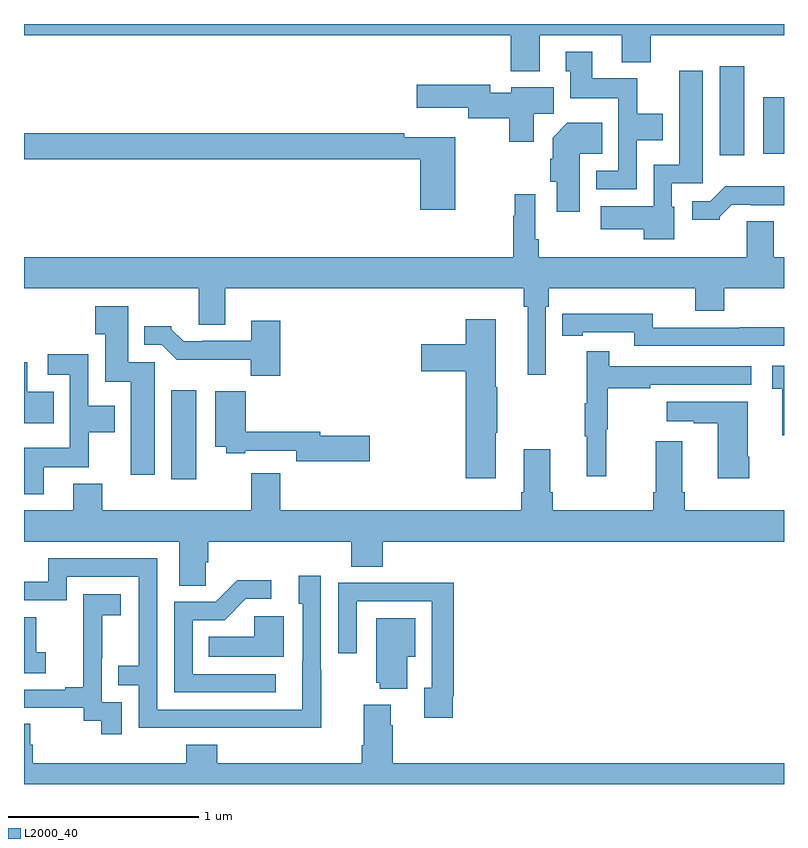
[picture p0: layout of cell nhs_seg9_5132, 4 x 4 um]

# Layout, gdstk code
import gdstk
lib = gdstk.Library(unit=1e-6, precision=1e-09)
def R(c, l, rs):  # rectangles x0, y0, x1, y1
    for r in rs: c.add(gdstk.rectangle(r[:2], r[2:], *l))
def P(c, l, *ps):  # polygons
    for p in ps: c.add(gdstk.Polygon(p, *l))
L2000_40 = (2000, 40)

nhs_seg9_5132 = lib.new_cell('nhs_seg9_5132')
R(nhs_seg9_5132, L2000_40, [(409.775,1174.104,409.906,1174.573), (412.661,1175.808,412.792,1176.277), (412.892,1175.816,413,1176.115)])
P(nhs_seg9_5132, L2000_40, [(411.715,1176.44),(412.145,1176.44),(412.145,1176.299),(412.298,1176.299),(412.298,1176.44),(413,1176.44),(413,1176.5),(409,1176.5),(409,1176.44),(411.563,1176.44),(411.563,1176.251),(411.715,1176.251)],
  [(412.224,1175.888),(412.363,1175.888),(412.363,1176.028),(412.227,1176.028),(412.227,1176.214),(411.991,1176.214),(411.991,1176.355),(411.851,1176.355),(411.851,1176.252),(411.875,1176.252),(411.875,1176.11),(412.128,1176.11),(412.128,1175.727),(412.011,1175.727),(412.011,1175.631),(412.224,1175.631)],
  [(412.423,1175.538),(412.41,1175.538),(412.41,1175.661),(412.573,1175.661),(412.573,1176.253),(412.448,1176.253),(412.448,1175.758),(412.314,1175.758),(412.314,1175.542),(412.035,1175.542),(412.035,1175.42),(412.262,1175.42),(412.262,1175.366),(412.423,1175.366)],
  [(411.682,1176.028),(411.787,1176.028),(411.787,1176.166),(411.564,1176.166),(411.564,1176.139),(411.454,1176.139),(411.454,1176.181),(411.066,1176.181),(411.066,1176.059),(411.338,1176.059),(411.338,1176.005),(411.553,1176.005),(411.553,1175.88),(411.682,1175.88)],
  [(411.925,1175.816),(412.043,1175.816),(412.043,1175.98),(411.86,1175.98),(411.782,1175.902),(411.782,1175.792),(411.77,1175.792),(411.77,1175.67),(411.803,1175.67),(411.803,1175.511),(411.925,1175.511)],
  [(411.269,1175.905),(411.002,1175.905),(411.002,1175.924),(409,1175.924),(409,1175.788),(411.086,1175.788),(411.086,1175.523),(411.269,1175.523)],
  [(412.662,1175.486),(412.726,1175.55),(412.825,1175.55),(412.825,1175.547),(413,1175.547),(413,1175.647),(412.69,1175.647),(412.611,1175.568),(412.518,1175.568),(412.518,1175.471),(412.662,1175.471)],
  [(411.582,1175.605),(411.582,1175.492),(411.574,1175.492),(411.574,1175.272),(409,1175.272),(409,1175.108),(409.919,1175.108),(409.919,1174.918),(410.059,1174.918),(410.059,1175.108),(411.631,1175.108),(411.631,1175.012),(411.65,1175.012),(411.65,1174.653),(411.747,1174.653),(411.747,1175.012),(411.761,1175.012),(411.761,1175.108),(412.532,1175.108),(412.532,1174.991),(412.685,1174.991),(412.685,1175.108),(413,1175.108),(413,1175.272),(412.945,1175.272),(412.945,1175.462),(412.805,1175.462),(412.805,1175.272),(411.71,1175.272),(411.71,1175.368),(411.69,1175.368),(411.69,1175.605)],
  [(409.687,1174.719),(409.549,1174.719),(409.549,1175.014),(409.376,1175.014),(409.376,1174.867),(409.427,1174.867),(409.427,1174.616),(409.562,1174.616),(409.562,1174.128),(409.687,1174.128)],
  [(413,1174.904),(412.768,1174.904),(412.768,1174.902),(412.308,1174.902),(412.308,1174.975),(411.94,1174.975),(411.94,1174.974),(411.832,1174.974),(411.832,1174.858),(411.94,1174.858),(411.94,1174.878),(412.212,1174.878),(412.212,1174.806),(413,1174.806)],
  [(411.484,1174.348),(411.492,1174.348),(411.492,1174.589),(411.484,1174.589),(411.484,1174.945),(411.326,1174.945),(411.326,1174.815),(411.09,1174.815),(411.09,1174.673),(411.326,1174.673),(411.326,1174.11),(411.484,1174.11)],
  [(410.348,1174.939),(410.195,1174.939),(410.195,1174.833),(409.939,1174.833),(409.939,1174.83),(409.84,1174.83),(409.776,1174.894),(409.776,1174.909),(409.634,1174.909),(409.634,1174.812),(409.725,1174.812),(409.804,1174.734),(410.193,1174.734),(410.193,1174.649),(410.348,1174.649)],
  [(412.064,1174.368),(412.072,1174.368),(412.072,1174.582),(412.295,1174.582),(412.295,1174.602),(412.828,1174.602),(412.828,1174.698),(412.079,1174.698),(412.079,1174.777),(411.962,1174.777),(411.962,1174.505),(411.951,1174.505),(411.951,1174.331),(411.962,1174.331),(411.962,1174.119),(412.064,1174.119)],
  [(409.105,1174.166),(409.341,1174.166),(409.341,1174.352),(409.477,1174.352),(409.477,1174.492),(409.338,1174.492),(409.338,1174.762),(409.125,1174.762),(409.125,1174.653),(409.242,1174.653),(409.242,1174.27),(409,1174.27),(409,1174.026),(409.105,1174.026)],
  [(409.157,1174.564),(409.018,1174.564),(409.018,1174.721),(409,1174.721),(409,1174.4),(409.157,1174.4)],
  [(413,1174.702),(412.938,1174.702),(412.938,1174.581),(412.991,1174.581),(412.991,1174.335),(413,1174.335)],
  [(410.821,1174.334),(410.56,1174.334),(410.56,1174.355),(410.168,1174.355),(410.168,1174.567),(410.006,1174.567),(410.006,1174.274),(410.064,1174.274),(410.064,1174.242),(410.164,1174.242),(410.164,1174.254),(410.432,1174.254),(410.432,1174.199),(410.821,1174.199)],
  [(412.818,1174.222),(412.81,1174.222),(412.81,1174.513),(412.383,1174.513),(412.383,1174.409),(412.526,1174.409),(412.526,1174.399),(412.652,1174.399),(412.652,1174.11),(412.818,1174.11)],
  [(410.723,1173.643),(410.888,1173.643),(410.888,1173.776),(413,1173.776),(413,1173.94),(412.478,1173.94),(412.478,1174.036),(412.465,1174.036),(412.465,1174.303),(412.325,1174.303),(412.325,1174.036),(412.313,1174.036),(412.313,1173.94),(411.782,1173.94),(411.782,1174.036),(411.769,1174.036),(411.769,1174.261),(411.629,1174.261),(411.629,1174.036),(411.617,1174.036),(411.617,1173.94),(410.348,1173.94),(410.348,1174.135),(410.195,1174.135),(410.195,1173.94),(409.412,1173.94),(409.412,1174.081),(409.259,1174.081),(409.259,1173.94),(409,1173.94),(409,1173.776),(409.817,1173.776),(409.817,1173.544),(409.956,1173.544),(409.956,1173.667),(409.97,1173.667),(409.97,1173.776),(410.723,1173.776)],
  [(410.565,1173.101),(410.562,1173.101),(410.562,1173.595),(410.447,1173.595),(410.447,1173.45),(410.466,1173.45),(410.466,1173.146),(410.465,1173.146),(410.465,1172.892),(409.701,1172.892),(409.701,1173.687),(409.127,1173.687),(409.127,1173.564),(409,1173.564),(409,1173.468),(409.224,1173.468),(409.224,1173.591),(409.605,1173.591),(409.605,1173.122),(409.495,1173.122),(409.495,1173.021),(409.605,1173.021),(409.605,1172.796),(410.101,1172.796),(410.101,1172.795),(410.565,1172.795)],
  [(410.326,1173.078),(409.887,1173.078),(409.887,1173.363),(410.056,1173.363),(410.167,1173.474),(410.302,1173.474),(410.302,1173.572),(410.123,1173.572),(410.01,1173.459),(409.791,1173.459),(409.791,1172.982),(410.326,1172.982)],
  [(411.256,1172.962),(411.263,1172.962),(411.263,1173.56),(410.971,1173.56),(410.971,1173.558),(410.655,1173.558),(410.655,1173.189),(410.751,1173.189),(410.751,1173.462),(411.147,1173.462),(411.147,1173.006),(411.107,1173.006),(411.107,1172.85),(411.256,1172.85)],
  [(409.515,1172.931),(409.41,1172.931),(409.41,1173.161),(409.412,1173.161),(409.412,1173.389),(409.51,1173.389),(409.51,1173.499),(409.312,1173.499),(409.312,1173.293),(409.313,1173.293),(409.313,1173.01),(409.217,1173.01),(409.217,1172.997),(409,1172.997),(409,1172.901),(409.314,1172.901),(409.314,1172.833),(409.407,1172.833),(409.407,1172.763),(409.515,1172.763)],
  [(410.368,1173.382),(410.211,1173.382),(410.211,1173.274),(409.972,1173.274),(409.972,1173.17),(410.368,1173.17)],
  [(409.114,1173.193),(409.065,1173.193),(409.065,1173.378),(409,1173.378),(409,1173.084),(409.114,1173.084)],
  [(411.016,1173.17),(411.058,1173.17),(411.058,1173.373),(410.855,1173.373),(410.855,1173.033),(410.873,1173.033),(410.873,1173.002),(411.016,1173.002)],
  [(413,1172.608),(410.942,1172.608),(410.942,1172.81),(410.929,1172.81),(410.929,1172.917),(410.789,1172.917),(410.789,1172.704),(410.777,1172.704),(410.777,1172.608),(410.018,1172.608),(410.018,1172.707),(409.853,1172.707),(409.853,1172.608),(409.046,1172.608),(409.046,1172.706),(409.033,1172.706),(409.033,1172.816),(409,1172.816),(409,1172.5),(413,1172.5)])

lib.write_gds('nhs_seg9_5132.gds')
